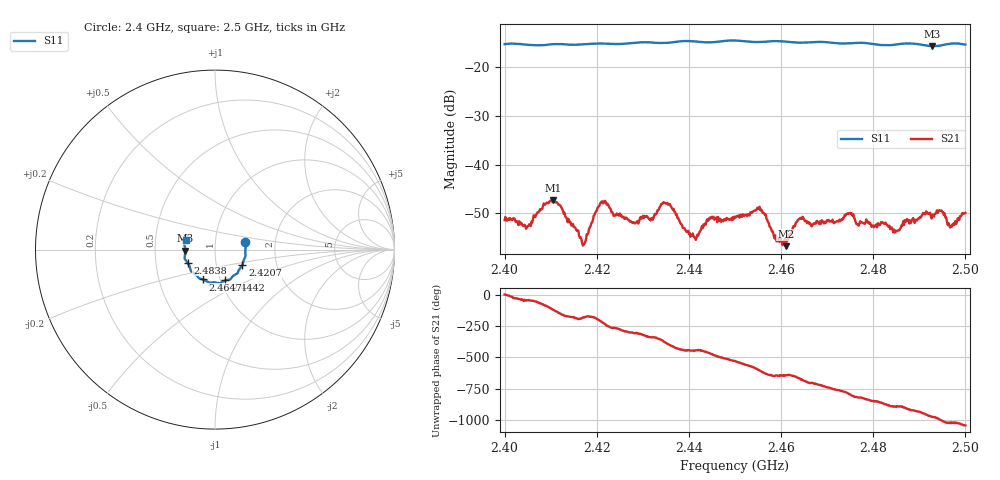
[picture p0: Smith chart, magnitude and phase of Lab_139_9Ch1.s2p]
# Hz S RI R 50
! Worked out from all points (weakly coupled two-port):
!   601 points, 2.4 GHz to 2.5 GHz, reference 50 ohm
!   highest |S21| = -47.30 dB at 2.4105 GHz (marker M1); lowest = -56.8 dB at 2.461 GHz (marker M2)
!   lowest |S11| = -15.6 dB at 2.4928 GHz (marker M3), VSWR 1.40, Z = 35.8 - j0.411 ohm
!   |S11| at or under -10 dB: start of sweep to end of sweep
!   S12 and S22 are empty: the file has one direction only
!   S11 on the Smith chart (normalised r, x): 2.4 GHz: 1.40, +0.12; 2.4207 GHz: 1.33, -0.24; 2.4442 GHz: 1.05, -0.37; 2.4647 GHz: 0.83, -0.29; 2.4838 GHz: 0.73, -0.11; 2.5 GHz: 0.71, +0.07
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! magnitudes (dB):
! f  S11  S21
! 2.4 GHz  -15.2  -51.4
! 2.4052 GHz  -15.4  -52.6
! 2.4105 GHz  -15.2  -47.3
! 2.4167 GHz  -15.3  -55.4
! 2.4207 GHz  -15.1  -48.2
! 2.428 GHz  -15.0  -51.9
! 2.4333 GHz  -15.0  -49.4
! 2.4357 GHz  -14.9  -48.2
! 2.4412 GHz  -14.6  -55.0
! 2.4442 GHz  -14.9  -51.6
! 2.45 GHz  -14.5  -51.0
! 2.4553 GHz  -14.8  -48.7
! 2.4588 GHz  -14.6  -54.6
! 2.461 GHz  -14.7  -56.8
! 2.4647 GHz  -14.9  -50.8
! 2.4667 GHz  -14.8  -52.7
! 2.4748 GHz  -15.0  -50.1
! 2.4833 GHz  -15.5  -52.8
! 2.4838 GHz  -15.4  -53.2
! 2.4928 GHz  -15.6  -50.3
! 2.497 GHz  -15.1  -52.8
! 2.5 GHz  -15.3  -49.9
